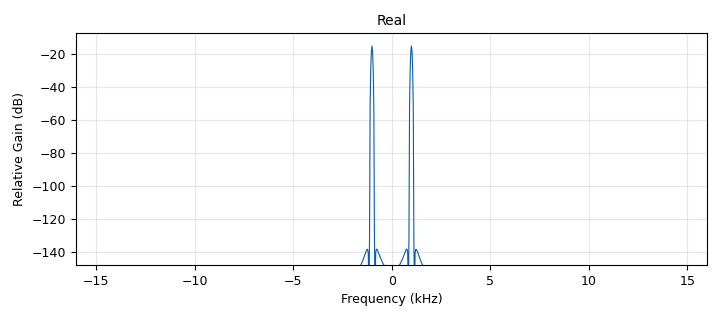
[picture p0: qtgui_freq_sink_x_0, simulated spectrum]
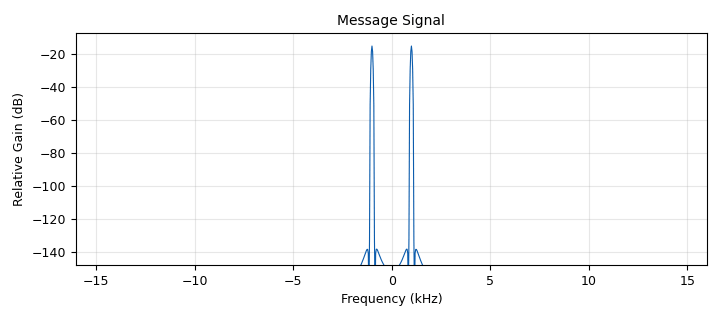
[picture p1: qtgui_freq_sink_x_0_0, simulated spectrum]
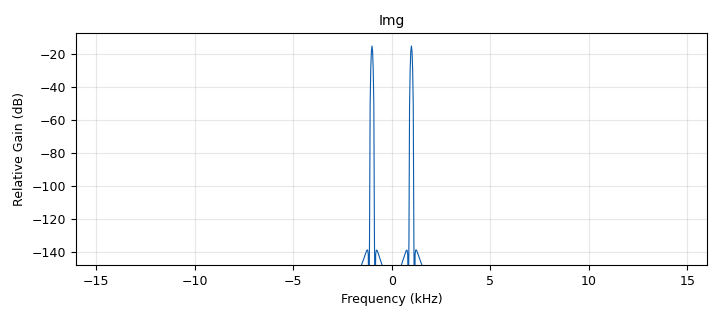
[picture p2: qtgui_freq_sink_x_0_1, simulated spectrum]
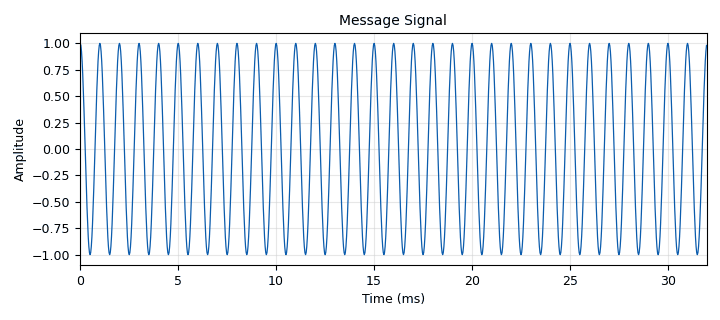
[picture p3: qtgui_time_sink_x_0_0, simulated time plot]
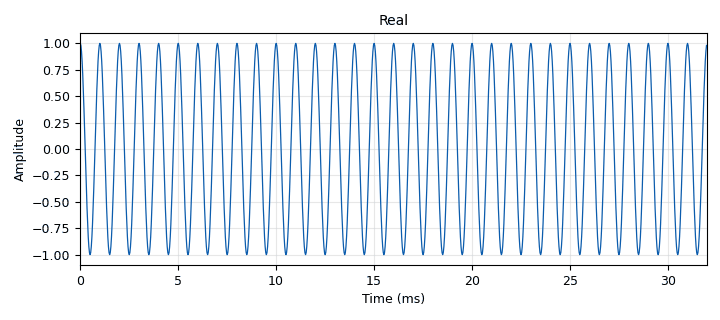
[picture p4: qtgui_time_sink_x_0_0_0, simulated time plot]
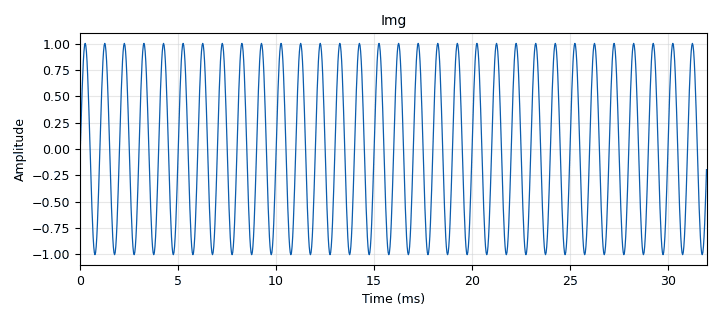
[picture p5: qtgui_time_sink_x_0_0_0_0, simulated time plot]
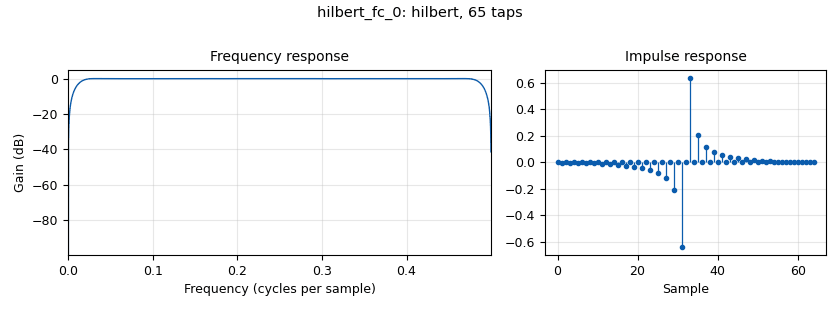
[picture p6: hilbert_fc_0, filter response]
options:
  parameters:
    author: shashank
    generate_options: qt_gui
    id: hilbert_transform
    output_language: python
    title: hilbert_transform
  states: {}

blocks:
- name: samp_rate
  id: variable
  parameters:
    value: '32000'
  states: {}
- name: analog_sig_source_x_0
  id: analog_sig_source_x
  parameters:
    amp: '1'
    freq: '1000'
    offset: '0'
    phase: '0'
    samp_rate: samp_rate
    type: float
    waveform: analog.GR_COS_WAVE
  states: {}
- name: blocks_complex_to_float_0
  id: blocks_complex_to_float
  parameters: {}
  states: {}
- name: blocks_throttle_0
  id: blocks_throttle
  parameters:
    samples_per_second: samp_rate
    type: float
  states: {}
- name: hilbert_fc_0
  id: hilbert_fc
  parameters:
    num_taps: '64'
    win: firdes.WIN_HAMMING
  states: {}
- name: qtgui_freq_sink_x_0
  id: qtgui_freq_sink_x
  parameters:
    autoscale: 'True'
    bw: samp_rate
    ctrlpanel: 'True'
    fc: '0'
    fftsize: '1024'
    grid: 'True'
    name: '"Real"'
    showports: 'True'
    type: float
    wintype: firdes.WIN_BLACKMAN_hARRIS
  states: {}
- name: qtgui_freq_sink_x_0_0
  id: qtgui_freq_sink_x
  parameters:
    autoscale: 'True'
    bw: samp_rate
    ctrlpanel: 'True'
    fc: '0'
    fftsize: '1024'
    grid: 'True'
    name: '"Message Signal"'
    showports: 'True'
    type: float
    wintype: firdes.WIN_BLACKMAN_hARRIS
  states: {}
- name: qtgui_freq_sink_x_0_1
  id: qtgui_freq_sink_x
  parameters:
    autoscale: 'True'
    bw: samp_rate
    ctrlpanel: 'True'
    fc: '0'
    fftsize: '1024'
    grid: 'True'
    name: '"Img"'
    showports: 'True'
    type: float
    wintype: firdes.WIN_BLACKMAN_hARRIS
  states: {}
- name: qtgui_time_sink_x_0_0
  id: qtgui_time_sink_x
  parameters:
    autoscale: 'True'
    ctrlpanel: 'True'
    grid: 'True'
    label1: ''
    name: '"Message Signal"'
    size: '1024'
    srate: samp_rate
    type: float
  states: {}
- name: qtgui_time_sink_x_0_0_0
  id: qtgui_time_sink_x
  parameters:
    autoscale: 'True'
    ctrlpanel: 'True'
    grid: 'True'
    label1: ''
    name: '"Real"'
    size: '1024'
    srate: samp_rate
    type: float
  states: {}
- name: qtgui_time_sink_x_0_0_0_0
  id: qtgui_time_sink_x
  parameters:
    autoscale: 'True'
    ctrlpanel: 'True'
    grid: 'True'
    label1: ''
    name: '"Img"'
    size: '1024'
    srate: samp_rate
    type: float
  states: {}

connections:
- [analog_sig_source_x_0, '0', blocks_throttle_0, '0']
- [analog_sig_source_x_0, '0', qtgui_freq_sink_x_0_0, '0']
- [analog_sig_source_x_0, '0', qtgui_time_sink_x_0_0, '0']
- [blocks_complex_to_float_0, '0', qtgui_freq_sink_x_0, '0']
- [blocks_complex_to_float_0, '0', qtgui_time_sink_x_0_0_0, '0']
- [blocks_complex_to_float_0, '1', qtgui_freq_sink_x_0_1, '0']
- [blocks_complex_to_float_0, '1', qtgui_time_sink_x_0_0_0_0, '0']
- [blocks_throttle_0, '0', hilbert_fc_0, '0']
- [hilbert_fc_0, '0', blocks_complex_to_float_0, '0']

metadata:
  file_format: 1
